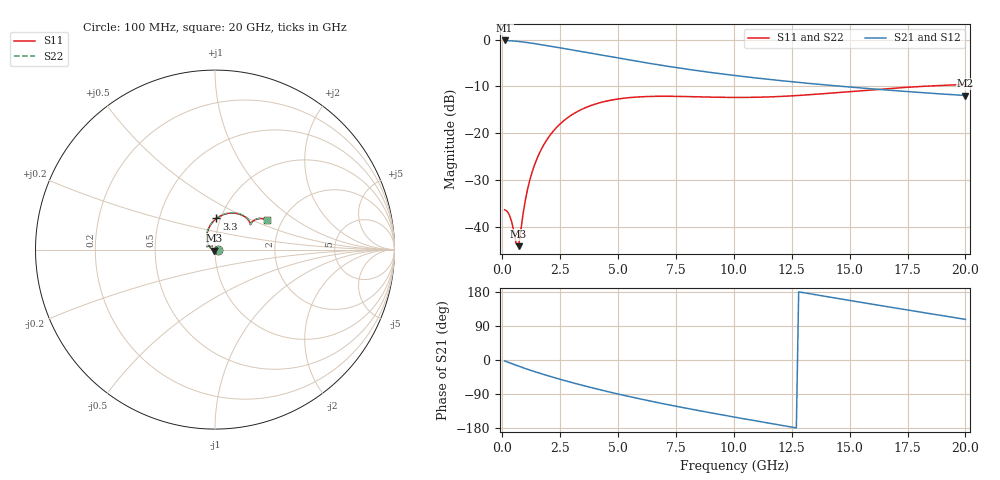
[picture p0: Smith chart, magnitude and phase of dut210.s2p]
! Touchstone file exported from HFSS 2024.1.0
!  File:  C:/UserFiles/LocalFiles/RDL_TSV_Batchsim/temp_RDL_TSV_210_1779446068.aedt
!  Generated:  06:51:29 PM May 22, 2026
!  Design:  RDL_TSV
!  Project:  temp_RDL_TSV_210_1779446068
!  Setup:  Setup1
!  Solution:  Sweep
! Variables:
!  dtsv = 14.74um
!  hbump = 3um
!  htsv = 75.09um
!  ldown = 417.23um
!  lrdl = 602.57um
!  p = 40
!  p1 = 56.68um
!  rhole = 10um
!  subl = 3661.97um
!  t = 450um
!  tdown = 3.11um
!  trdl = 4.7um
!  viad = 10um
!  wdown = 17.4um
!  wrdl = 27.03um
!  xbump = 18um
# GHz S MA R 50.000000
! Terminal data exported
! Port[1] = TM1_1_T1
! Port[2] = TM1_4_T1
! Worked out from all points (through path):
!   200 points, 100 MHz to 20 GHz, reference 50 ohm
!   highest |S21| = -0.14 dB at 100 MHz (marker M1); lowest = -11.9 dB at 20 GHz (marker M2)
!   group delay of S21, straight-line fit = 33 ps
!   lowest |S11| = -44.2 dB at 700 MHz (marker M3), VSWR 1.01, Z = 49.7 - j0.523 ohm
!   |S11| at or under -10 dB: start of sweep to 18.06 GHz
!   |S22| runs from -44.2 to -9.5 dB; largest |S21 - S12| = 8.9e-15
!   S11 on the Smith chart (normalised r, x): 100 MHz: 1.03, -0.00; 3.3 GHz: 0.96, +0.34; 20 GHz: 1.67, +0.62
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0.1  0.01513 -4.3  0.9839 -2.4  0.9839 -2.4  0.01512 -4.3
! Gamma 0 0 0 0
! Port Impedance 50 0 50 0
0.3  0.01343 -19.0  0.9786 -7.1  0.9786 -7.1  0.01341 -19.0
0.4  0.01142 -30.0  0.9749 -9.4  0.9749 -9.4  0.01139 -30.1
0.6  0.006524 -74.7  0.9655 -13.9  0.9655 -13.9  0.006477 -75.2
0.7  0.006168 -121.5  0.9599 -16.1  0.9599 -16.1  0.006174 -122.4
0.9  0.01382 -178.7  0.9471 -20.4  0.9471 -20.4  0.01395 -179.1
1.1  0.02565 160.8  0.9328 -24.6  0.9328 -24.6  0.02586 160.6
1.3  0.03911 148.4  0.9174 -28.7  0.9174 -28.7  0.0394 148.3
1.6  0.06083 134.6  0.8932 -34.6  0.8932 -34.6  0.06125 134.6
1.9  0.08313 123.6  0.8686 -40.2  0.8686 -40.2  0.08368 123.5
2.3  0.1121 111.2  0.8359 -47.5  0.8359 -47.5  0.1128 111.2
2.8  0.1452 98.2  0.796 -56.1  0.796 -56.1  0.1461 98.3
3.3  0.1736 87.3  0.7574 -64.3  0.7574 -64.3  0.1747 87.4
3.5  0.1834 83.4  0.7423 -67.5  0.7423 -67.5  0.1846 83.5
4.2  0.2115 71.5  0.6918 -78.2  0.6918 -78.2  0.213 71.6
5.1  0.2343 59.4  0.632 -91.2  0.632 -91.2  0.236 59.5
6.8  0.2485 44.3  0.537 -113.5  0.537 -113.5  0.2505 44.5
8.3  0.2457 37.6  0.4722 -131.4  0.4722 -131.4  0.2479 37.7
10.1  0.2414 35.1  0.413 -151.5  0.413 -151.5  0.2437 35.2
13.4  0.2596 36.8  0.3385 173.6  0.3385 173.6  0.2619 36.8
16.7  0.3007 35.1  0.2887 140.0  0.2887 140.0  0.3032 35.1
20  0.3323 29.5  0.2532 107.3  0.2532 107.3  0.3351 29.6
